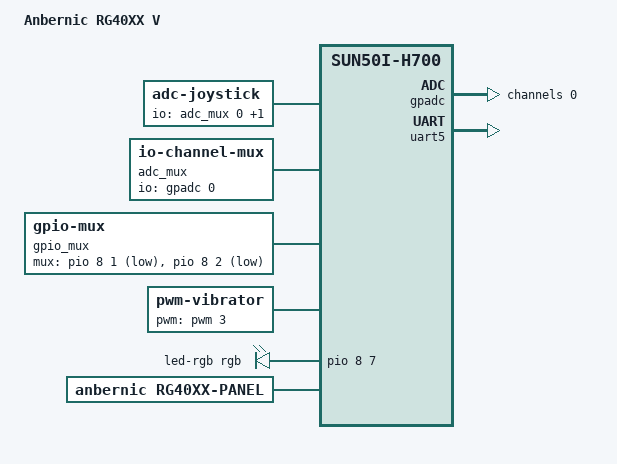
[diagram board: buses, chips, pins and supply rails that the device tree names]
// SPDX-License-Identifier: (GPL-2.0-only OR BSD-2-Clause)
/*
 * Copyright (C) 2024 Philippe Simons <simons.philippe@gmail.com>.
 */

#include "sun50i-h700-anbernic-rg35xx-plus.dts"

/ {
	model = "Anbernic RG40XX V";
	compatible = "anbernic,rg40xx-v", "allwinner,sun50i-h700";
	rocknix-dt-id = "sun50i-h700-anbernic-rg40xx-v";

	adc-joystick {
		compatible = "adc-joystick";
		io-channels = <&adc_mux 0>,
			      <&adc_mux 1>;
		pinctrl-0 = <&joy_mux_pin>;
		pinctrl-names = "default";
		poll-interval = <60>;
		#address-cells = <1>;
		#size-cells = <0>;

		axis@0 {
			reg = <0>;
			abs-flat = <32>;
			abs-fuzz = <32>;
			abs-range = <4096 0>;
			linux,code = <ABS_X>;
		};

		axis@1 {
			reg = <1>;
			abs-flat = <32>;
			abs-fuzz = <32>;
			abs-range = <0 4096>;
			linux,code = <ABS_Y>;
		};
	};

	adc_mux: adc-mux {
		compatible = "io-channel-mux";
		channels = "left_x", "left_y";
		#io-channel-cells = <1>;
		io-channels = <&gpadc 0>;
		io-channel-names = "parent";
		mux-controls = <&gpio_mux>;
		settle-time-us = <100>;
	};

	gpio_mux: mux-controller {
		compatible = "gpio-mux";
		mux-gpios = <&pio 8 1 GPIO_ACTIVE_LOW>,
			    <&pio 8 2 GPIO_ACTIVE_LOW>;
		#mux-control-cells = <0>;
	};

	vibrator {
		compatible = "pwm-vibrator";
		pwms = <&pwm 3 1000000 0>;
		pwm-names = "enable";
		pinctrl-names = "default";
		pinctrl-0 = <&pwm3_pin>;
	};

	leds {
		led-rgb {
			function = LED_FUNCTION_KBD_BACKLIGHT;
			color = <LED_COLOR_ID_RGB>;
			gpios = <&pio 8 7 GPIO_ACTIVE_HIGH>; /* PI7 */
		};
	};
};

&gpadc {
	#address-cells = <1>;
	#size-cells = <0>;
	status = "okay";

	channel@0 {
		reg = <0>;
	};
};

&gpio_keys_gamepad {
	button-thumbl {
		label = "GPIO Thumb Left";
		gpios = <&pio 4 8 GPIO_ACTIVE_LOW>; /* PE8 */
		linux,input-type = <EV_KEY>;
		linux,code = <BTN_THUMBL>;
	};
};

&uart5 {
	pinctrl-names = "default";
	pinctrl-0 = <&uart5_ph_pins>;
	status = "okay";	
};



&panel {
	compatible = "anbernic,rg40xx-panel", "panel-mipi-dpi-spi";
};

&pio {
	joy_mux_pin: joy-mux-pin {
		pins = "PI0";
		function = "gpio_out";
	};

	pwm3_pin: pwm3-pin {
		pins = "PI13";
		function = "pwm3";
	};
};
